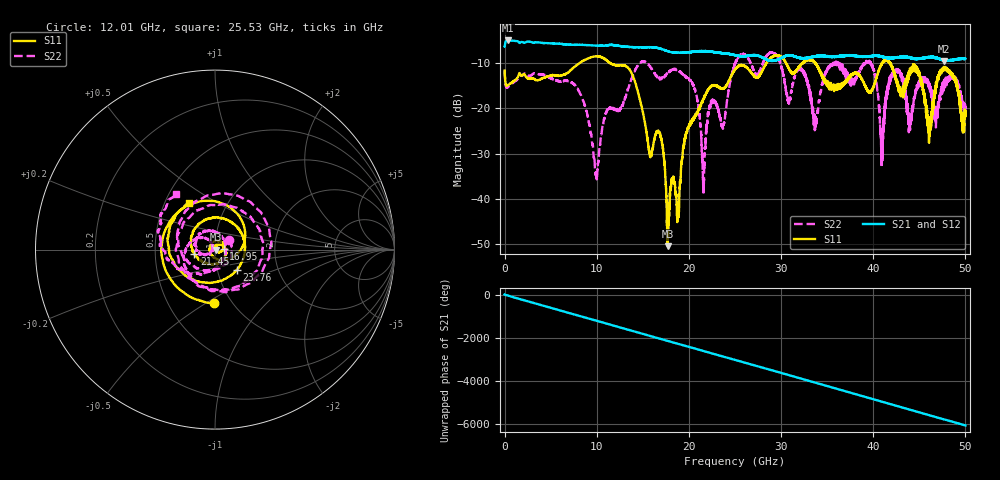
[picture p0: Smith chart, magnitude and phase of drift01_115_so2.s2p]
!Created with skrf (http://scikit-rf.org).
# Hz S RI R 50.0
!freq ReS11 ImS11 ReS21 ImS21 ReS12 ImS12 ReS22 ImS22
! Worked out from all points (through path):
!   10001 points, 300 kHz to 50 GHz, reference 50 ohm
!   highest |S21| = -5.05 dB at 325.3 MHz (marker M1); lowest = -9.6 dB at 47.67 GHz (marker M2)
!   group delay of S21, straight-line fit = 336 ps
!   lowest |S11| = -50.4 dB at 17.68 GHz (marker M3), VSWR 1.01, Z = 50.3 - j0.114 ohm
!   |S11| at or under -10 dB: start of sweep to 8.161 GHz; 11.43 GHz to 28.42 GHz (16.99 GHz wide, 85.3 % of centre); 41.81 GHz to end of sweep (the widest 3 of 11)
!   |S22| runs from -39.1 to -7.6 dB; largest |S21 - S12| = 0.015
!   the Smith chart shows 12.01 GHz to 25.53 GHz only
!   S11 on the Smith chart (normalised r, x): 12.01 GHz: 0.83, -0.54; 16.95 GHz: 1.10, +0.01; 21.45 GHz: 0.79, -0.04; 23.76 GHz: 1.24, -0.29; 25.53 GHz: 0.66, +0.37
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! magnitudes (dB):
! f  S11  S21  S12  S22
! 300 kHz  -11.7  -6.4  -6.5  -11.8
! 325.3 MHz  -15.0  -5.1  -5.1  -15.4
! 8.335 GHz  -9.8  -6.0  -6.0  -17.5
! 9.945 GHz  -8.6  -6.2  -6.2  -34.6
! 12.01 GHz  -10.5  -6.1  -6.1  -20.4
! 16.67 GHz  -24.9  -6.7  -6.7  -13.4
! 16.95 GHz  -26.4  -6.9  -6.9  -13.3
! 17.68 GHz  -50.4  -7.4  -7.4  -12.4
! 20.5 GHz  -22.3  -7.6  -7.5  -15.0
! 21.45 GHz  -18.6  -7.4  -7.4  -30.3
! 22.47 GHz  -15.1  -7.5  -7.6  -19.0
! 23.76 GHz  -15.6  -7.8  -7.9  -23.7
! 25 GHz  -11.4  -8.3  -8.3  -10.2
! 25.53 GHz  -10.6  -8.5  -8.5  -8.4
! 33.34 GHz  -9.4  -8.7  -8.7  -19.3
! 39.49 GHz  -16.5  -8.6  -8.5  -9.9
! 40.95 GHz  -10.2  -8.7  -8.6  -30.8
! 41.67 GHz  -9.6  -8.8  -9.0  -14.9
! 44.78 GHz  -12.1  -9.2  -9.1  -15.3
! 46.1 GHz  -26.2  -8.8  -8.7  -15.2
! 47.67 GHz  -11.3  -9.6  -9.5  -14.5
! 50 GHz  -21.7  -9.1  -9.1  -20.2
